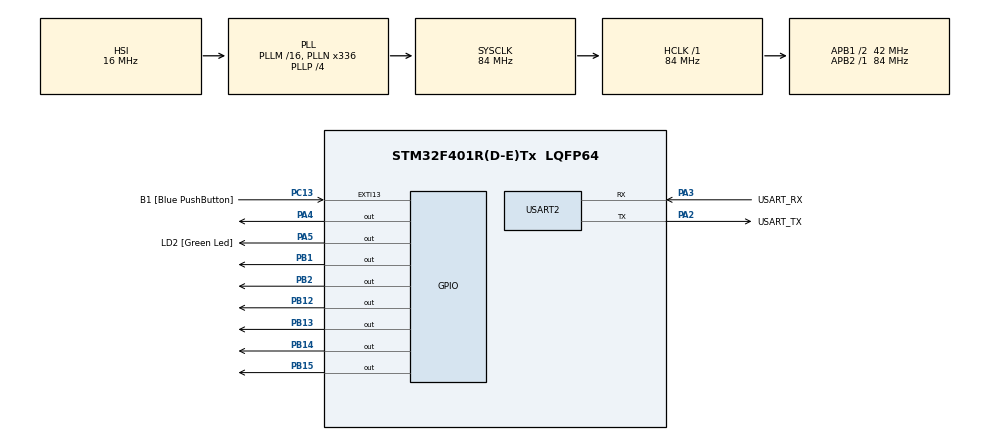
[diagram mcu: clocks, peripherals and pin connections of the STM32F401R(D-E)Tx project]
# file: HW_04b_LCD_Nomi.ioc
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Mcu.Family=STM32F4
Mcu.Name=STM32F401R(D-E)Tx
Mcu.Package=LQFP64
NVIC.PriorityGroup=NVIC_PRIORITYGROUP_0
NVIC.TIM2_IRQn=true\:0\:0\:false\:false\:true\:true\:true\:true
PA13.GPIO_Label=TMS
PA13.Mode=Serial_Wire
PA13.Signal=SYS_JTMS-SWDIO
PA14.GPIO_Label=TCK
PA14.Mode=Serial_Wire
PA14.Signal=SYS_JTCK-SWCLK
PA2.GPIO_Label=USART_TX
PA2.GPIO_Mode=GPIO_MODE_AF_PP
PA2.GPIO_PuPd=GPIO_NOPULL
PA2.GPIO_Speed=GPIO_SPEED_FREQ_LOW
PA2.Mode=Asynchronous
PA2.Signal=USART2_TX
PA3.GPIO_Label=USART_RX
PA3.GPIO_Mode=GPIO_MODE_AF_PP
PA3.GPIO_PuPd=GPIO_NOPULL
PA3.GPIO_Speed=GPIO_SPEED_FREQ_LOW
PA3.Mode=Asynchronous
PA3.Signal=USART2_RX
PA4.Signal=GPIO_Output
PA5.GPIO_Label=LD2 [Green Led]
PA5.GPIO_Mode=GPIO_MODE_OUTPUT_PP
PA5.GPIO_PuPd=GPIO_NOPULL
PA5.GPIO_Speed=GPIO_SPEED_FREQ_LOW
PA5.Signal=GPIO_Output
PB1.Signal=GPIO_Output
PB12.Signal=GPIO_Output
PB13.Signal=GPIO_Output
PB14.Signal=GPIO_Output
PB15.Signal=GPIO_Output
PB2.Signal=GPIO_Output
PB3.GPIO_Label=SWO
PB3.Signal=SYS_JTDO-SWO
PC13-ANTI_TAMP.GPIO_Label=B1 [Blue PushButton]
PC13-ANTI_TAMP.GPIO_ModeDefaultEXTI=GPIO_MODE_IT_FALLING
PC13-ANTI_TAMP.GPIO_PuPd=GPIO_NOPULL
PC13-ANTI_TAMP.Signal=GPXTI13
PC14-OSC32_IN.Mode=LSE-External-Oscillator
PC14-OSC32_IN.Signal=RCC_OSC32_IN
PC15-OSC32_OUT.Mode=LSE-External-Oscillator
PC15-OSC32_OUT.Signal=RCC_OSC32_OUT
PH0\ -\ OSC_IN.Mode=HSE-External-Clock-Source
PH0\ -\ OSC_IN.Signal=RCC_OSC_IN
PH1\ -\ OSC_OUT.Mode=HSE-External-Clock-Source
PH1\ -\ OSC_OUT.Signal=RCC_OSC_OUT
ProjectManager.HeapSize=0x200
ProjectManager.StackSize=0x400
ProjectManager.TargetToolchain=STM32CubeIDE
RCC.48MHZClocksFreq_Value=48000000
RCC.AHBFreq_Value=84000000
RCC.APB1CLKDivider=RCC_HCLK_DIV2
RCC.APB1Freq_Value=42000000
RCC.APB1TimFreq_Value=84000000
RCC.APB2Freq_Value=84000000
RCC.APB2TimFreq_Value=84000000
RCC.CortexFreq_Value=84000000
RCC.HCLKFreq_Value=84000000
RCC.HSE_VALUE=8000000
RCC.HSI_VALUE=16000000
RCC.PLLN=336
RCC.PLLP=RCC_PLLP_DIV4
RCC.PLLQ=7
RCC.SYSCLKFreq_VALUE=84000000
RCC.SYSCLKSource=RCC_SYSCLKSOURCE_PLLCLK
RCC.VCOOutputFreq_Value=336000000
TIM2.Period=10000-1
TIM2.Prescaler=8400-1
USART2.VirtualMode=VM_ASYNC
VP_TIM2_VS_ClockSourceINT.Mode=Internal
board=NUCLEO-F401RE

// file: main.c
/* USER CODE BEGIN Header */
/**
  ******************************************************************************
  * @file           : main.c
  * @brief          : Main program body
  ******************************************************************************
  * @attention
  *
  * Copyright (c) 2024 STMicroelectronics.
  * All rights reserved.
  *
  * This software is licensed under terms that can be found in the LICENSE file
  * in the root directory of this software component.
  * If no LICENSE file comes with this software, it is provided AS-IS.
  *
  ******************************************************************************
  */
/* USER CODE END Header */
#include "main.h"

/* USER CODE BEGIN Includes */

#include "PMDB16_LCD.h"

/* USER CODE END Includes */

/* USER CODE BEGIN PD */

#define STR_LENGTH 16

/* USER CODE END PD */

TIM_HandleTypeDef htim2;

UART_HandleTypeDef huart2;

/* USER CODE BEGIN PV */

int indexx = 0;

char names[][STR_LENGTH] = {"Federico", "Francesco", "Samuele F.", "Samuele Z.", "Stefano"};

/* USER CODE END PV */

void SystemClock_Config(void);
static void MX_GPIO_Init(void);
static void MX_USART2_UART_Init(void);
static void MX_TIM2_Init(void);

/* USER CODE BEGIN 0 */

void HAL_TIM_PeriodElapsedCallback (TIM_HandleTypeDef *htim) {
	if (htim == &htim2) {
		indexx++;
		lcd_println(names[indexx-1], 0);
		if (indexx == 5) {
			indexx = 0;
		}
		lcd_println(names[indexx], 1);
	}
}

/* USER CODE END 0 */

int main(void)
{

  /* MCU Configuration--------------------------------------------------------*/

  /* Reset of all peripherals, Initializes the Flash interface and the Systick. */
  HAL_Init();

  /* Configure the system clock */
  SystemClock_Config();

  /* Initialize all configured peripherals */
  MX_GPIO_Init();
  MX_USART2_UART_Init();
  MX_TIM2_Init();
  /* USER CODE BEGIN 2 */

	lcd_initialize();
	lcd_backlight_ON();

	lcd_println(names[indexx], 1);

	__HAL_TIM_SET_COUNTER(&htim2, 0);			// reset timer counter
	__HAL_TIM_CLEAR_IT(&htim2, TIM_IT_UPDATE);	// clear interrupt request BEFORE enabling tim interrupt
	HAL_TIM_Base_Start_IT(&htim2);				// start tim interrupt function

  /* USER CODE END 2 */

  /* Infinite loop */
  while (1)
  {

  }
}

void SystemClock_Config(void)
{
  RCC_OscInitTypeDef RCC_OscInitStruct = {0};
  RCC_ClkInitTypeDef RCC_ClkInitStruct = {0};

  /** Configure the main internal regulator output voltage
  */
  __HAL_RCC_PWR_CLK_ENABLE();
  __HAL_PWR_VOLTAGESCALING_CONFIG(PWR_REGULATOR_VOLTAGE_SCALE2);

  /** Initializes the RCC Oscillators according to the specified parameters
  * in the RCC_OscInitTypeDef structure.
  */
  RCC_OscInitStruct.OscillatorType = RCC_OSCILLATORTYPE_HSI;
  RCC_OscInitStruct.HSIState = RCC_HSI_ON;
  RCC_OscInitStruct.HSICalibrationValue = RCC_HSICALIBRATION_DEFAULT;
  RCC_OscInitStruct.PLL.PLLState = RCC_PLL_ON;
  RCC_OscInitStruct.PLL.PLLSource = RCC_PLLSOURCE_HSI;
  RCC_OscInitStruct.PLL.PLLM = 16;
  RCC_OscInitStruct.PLL.PLLN = 336;
  RCC_OscInitStruct.PLL.PLLP = RCC_PLLP_DIV4;
  RCC_OscInitStruct.PLL.PLLQ = 7;
  if (HAL_RCC_OscConfig(&RCC_OscInitStruct) != HAL_OK)
  {
    Error_Handler();
  }

  /** Initializes the CPU, AHB and APB buses clocks
  */
  RCC_ClkInitStruct.ClockType = RCC_CLOCKTYPE_HCLK|RCC_CLOCKTYPE_SYSCLK
                              |RCC_CLOCKTYPE_PCLK1|RCC_CLOCKTYPE_PCLK2;
  RCC_ClkInitStruct.SYSCLKSource = RCC_SYSCLKSOURCE_PLLCLK;
  RCC_ClkInitStruct.AHBCLKDivider = RCC_SYSCLK_DIV1;
  RCC_ClkInitStruct.APB1CLKDivider = RCC_HCLK_DIV2;
  RCC_ClkInitStruct.APB2CLKDivider = RCC_HCLK_DIV1;

  if (HAL_RCC_ClockConfig(&RCC_ClkInitStruct, FLASH_LATENCY_2) != HAL_OK)
  {
    Error_Handler();
  }
}

static void MX_TIM2_Init(void)
{

  TIM_ClockConfigTypeDef sClockSourceConfig = {0};
  TIM_MasterConfigTypeDef sMasterConfig = {0};

  htim2.Instance = TIM2;
  htim2.Init.Prescaler = 8400-1;
  htim2.Init.CounterMode = TIM_COUNTERMODE_UP;
  htim2.Init.Period = 10000-1;
  htim2.Init.ClockDivision = TIM_CLOCKDIVISION_DIV1;
  htim2.Init.AutoReloadPreload = TIM_AUTORELOAD_PRELOAD_DISABLE;
  if (HAL_TIM_Base_Init(&htim2) != HAL_OK)
  {
    Error_Handler();
  }
  sClockSourceConfig.ClockSource = TIM_CLOCKSOURCE_INTERNAL;
  if (HAL_TIM_ConfigClockSource(&htim2, &sClockSourceConfig) != HAL_OK)
  {
    Error_Handler();
  }
  sMasterConfig.MasterOutputTrigger = TIM_TRGO_RESET;
  sMasterConfig.MasterSlaveMode = TIM_MASTERSLAVEMODE_DISABLE;
  if (HAL_TIMEx_MasterConfigSynchronization(&htim2, &sMasterConfig) != HAL_OK)
  {
    Error_Handler();
  }

}

static void MX_USART2_UART_Init(void)
{

  huart2.Instance = USART2;
  huart2.Init.BaudRate = 115200;
  huart2.Init.WordLength = UART_WORDLENGTH_8B;
  huart2.Init.StopBits = UART_STOPBITS_1;
  huart2.Init.Parity = UART_PARITY_NONE;
  huart2.Init.Mode = UART_MODE_TX_RX;
  huart2.Init.HwFlowCtl = UART_HWCONTROL_NONE;
  huart2.Init.OverSampling = UART_OVERSAMPLING_16;
  if (HAL_UART_Init(&huart2) != HAL_OK)
  {
    Error_Handler();
  }

}

static void MX_GPIO_Init(void)
{
  GPIO_InitTypeDef GPIO_InitStruct = {0};

  /* GPIO Ports Clock Enable */
  __HAL_RCC_GPIOC_CLK_ENABLE();
  __HAL_RCC_GPIOH_CLK_ENABLE();
  __HAL_RCC_GPIOA_CLK_ENABLE();
  __HAL_RCC_GPIOB_CLK_ENABLE();

  /*Configure GPIO pin Output Level */
  HAL_GPIO_WritePin(GPIOC, GPIO_PIN_13, GPIO_PIN_RESET);

  /*Configure GPIO pin Output Level */
  HAL_GPIO_WritePin(GPIOA, GPIO_PIN_4, GPIO_PIN_RESET);

  /*Configure GPIO pin Output Level */
  HAL_GPIO_WritePin(GPIOB, GPIO_PIN_1|GPIO_PIN_2|GPIO_PIN_12|GPIO_PIN_13
                          |GPIO_PIN_14|GPIO_PIN_15, GPIO_PIN_RESET);

  /*Configure GPIO pin : PC13 */
  GPIO_InitStruct.Pin = GPIO_PIN_13;
  GPIO_InitStruct.Mode = GPIO_MODE_OUTPUT_PP;
  GPIO_InitStruct.Pull = GPIO_NOPULL;
  GPIO_InitStruct.Speed = GPIO_SPEED_FREQ_LOW;
  HAL_GPIO_Init(GPIOC, &GPIO_InitStruct);

  /*Configure GPIO pin : PA4 */
  GPIO_InitStruct.Pin = GPIO_PIN_4;
  GPIO_InitStruct.Mode = GPIO_MODE_OUTPUT_PP;
  GPIO_InitStruct.Pull = GPIO_NOPULL;
  GPIO_InitStruct.Speed = GPIO_SPEED_FREQ_LOW;
  HAL_GPIO_Init(GPIOA, &GPIO_InitStruct);

  /*Configure GPIO pin : PA5 */
  GPIO_InitStruct.Pin = GPIO_PIN_5;
  GPIO_InitStruct.Mode = GPIO_MODE_INPUT;
  GPIO_InitStruct.Pull = GPIO_NOPULL;
  HAL_GPIO_Init(GPIOA, &GPIO_InitStruct);

  /*Configure GPIO pins : PB1 PB2 PB12 PB13
                           PB14 PB15 */
  GPIO_InitStruct.Pin = GPIO_PIN_1|GPIO_PIN_2|GPIO_PIN_12|GPIO_PIN_13
                          |GPIO_PIN_14|GPIO_PIN_15;
  GPIO_InitStruct.Mode = GPIO_MODE_OUTPUT_PP;
  GPIO_InitStruct.Pull = GPIO_NOPULL;
  GPIO_InitStruct.Speed = GPIO_SPEED_FREQ_LOW;
  HAL_GPIO_Init(GPIOB, &GPIO_InitStruct);

}

void Error_Handler(void)
{
  __disable_irq();
  while (1)
  {
  }
}
